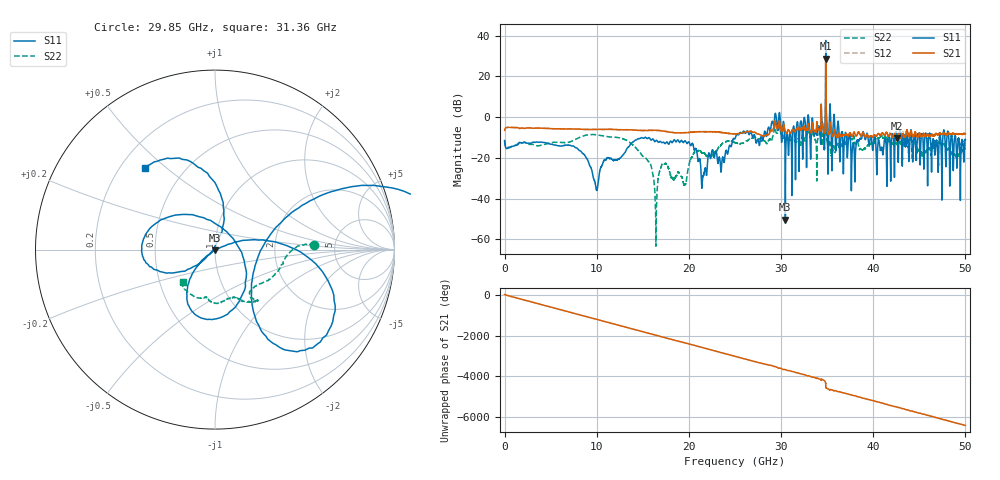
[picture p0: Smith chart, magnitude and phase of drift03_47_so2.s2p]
!Created with skrf (http://scikit-rf.org).
# Hz S RI R 50.0
!freq ReS11 ImS11 ReS21 ImS21 ReS12 ImS12 ReS22 ImS22
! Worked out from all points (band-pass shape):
!   10001 points, 300 kHz to 50 GHz, reference 50 ohm
!   highest |S21| = 28.67 dB at 34.85 GHz (marker M1); lowest = -10.4 dB at 42.56 GHz (marker M2)
!   |S21| within 3 dB of the highest: 34.84382 GHz to 34.84599 GHz (2.171 MHz wide, 0.00623 % of centre)
!   lowest |S11| = -50.3 dB at 30.47 GHz (marker M3), VSWR 1.01, Z = 50 - j0.303 ohm
!   |S11| at or under -10 dB: start of sweep to 15.23 GHz; 15.31 GHz to 25.05 GHz (9.738 GHz wide, 48.3 % of centre); 40.22 GHz to 41.62 GHz (1.393 GHz wide, 3.41 % of centre) (the widest 3 of 48)
!   |S22| runs from -63.3 to 19.5 dB; largest |S21 - S12| = 3.6
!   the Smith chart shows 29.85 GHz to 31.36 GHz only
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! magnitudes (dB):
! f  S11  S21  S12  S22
! 300 kHz  -11.5  -6.5  -6.5  -11.5
! 8.335 GHz  -17.1  -6.0  -6.0  -9.6
! 9.955 GHz  -35.6  -6.1  -6.1  -8.7
! 11 GHz  -20.9  -6.0  -6.0  -9.5
! 13.98 GHz  -12.1  -6.3  -6.3  -13.9
! 16.36 GHz  -11.9  -6.5  -6.5  -42.0
! 16.67 GHz  -12.4  -6.5  -6.5  -29.9
! 17.33 GHz  -12.7  -6.9  -6.9  -23.0
! 19.55 GHz  -11.7  -7.7  -7.7  -33.3
! 20.21 GHz  -13.9  -7.5  -7.5  -20.3
! 21.55 GHz  -28.7  -7.2  -7.2  -17.7
! 25 GHz  -10.6  -8.2  -8.2  -12.5
! 29.6 GHz  -5.5  -5.7  -5.9  -7.8
! 30.47 GHz  -50.3  -7.2  -7.2  -9.0
! 33.34 GHz  -3.8  -6.8  -6.7  -9.4
! 34.85 GHz  37.6  28.7  28.5  19.5
! 35.63 GHz  -6.5  -9.3  -9.2  -16.3
! 37.83 GHz  -12.6  -8.2  -8.3  -9.9
! 38.81 GHz  -9.0  -8.2  -8.2  -16.1
! 41.67 GHz  -9.3  -9.4  -9.4  -11.7
! 42.56 GHz  -8.3  -10.4  -10.5  -13.3
! 50 GHz  -10.9  -8.2  -8.2  -15.5
